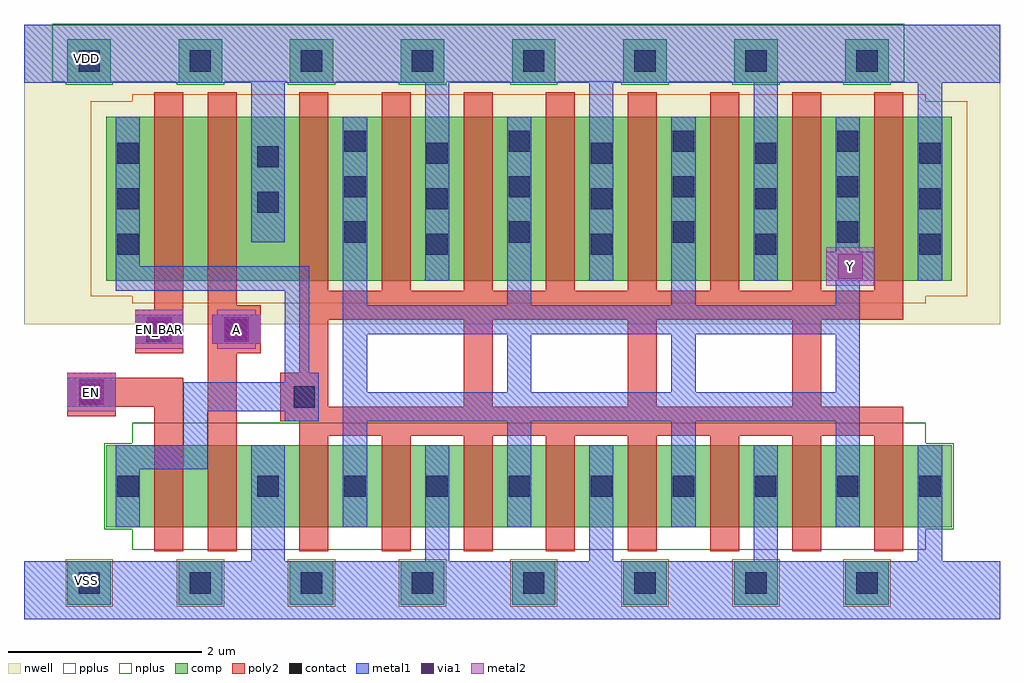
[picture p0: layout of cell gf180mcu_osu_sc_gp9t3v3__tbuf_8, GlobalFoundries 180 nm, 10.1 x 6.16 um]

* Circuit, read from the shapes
.subckt gf180mcu_osu_sc_gp9t3v3__tbuf_8 A EN EN_BAR VDD VSS Y
XM1 n1 EN n2 VSS nfet_03v3 w=0.85u l=0.3u
XM2 VSS A n1 VSS nfet_03v3 w=0.85u l=0.3u
XM3 Y n2 VSS VSS nfet_03v3 w=0.85u l=0.3u m=8
XM4 n3 EN_BAR n2 VDD pfet_03v3 w=1.7u l=0.3u
XM5 VDD A n3 VDD pfet_03v3 w=1.7u l=0.3u
XM6 Y n2 VDD VDD pfet_03v3 w=1.7u l=0.3u m=8
.ends

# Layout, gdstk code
import gdstk
lib = gdstk.Library(unit=1e-6, precision=1e-09)
def R(c, l, rs):  # rectangles x0, y0, x1, y1
    for r in rs: c.add(gdstk.rectangle(r[:2], r[2:], *l))
def A(c, l, x, y, w, h, nx, ny, dx, dy):  # array of equal rectangles
    R(c, l, [(x+i*dx, y+j*dy, x+i*dx+w, y+j*dy+h) for i in range(nx) for j in range(ny)])
nwell = (21, 0)
comp = (22, 0)
poly2 = (30, 0)
pplus = (31, 0)
nplus = (32, 0)
contact = (33, 0)
metal1 = (34, 0)
via1 = (35, 0)
metal2 = (36, 0)

gf180mcu_osu_sc_gp9t3v3_ = lib.new_cell('gf180mcu_osu_sc_gp9t3v3__tbuf_8')
R(gf180mcu_osu_sc_gp9t3v3_, nwell, [(0,3.05,10.1,6.15)])
A(gf180mcu_osu_sc_gp9t3v3_, comp, 0.45, 0.15, 0.45, 0.45, 8, 2, 1.15, 5.4)
R(gf180mcu_osu_sc_gp9t3v3_, comp, [(0.85,0.95,9.6,1.8), (0.85,3.5,9.6,5.2)])
A(gf180mcu_osu_sc_gp9t3v3_, poly2, 2.85, 0.7, 0.3, 1.2, 8, 1, 0.85, 0)
A(gf180mcu_osu_sc_gp9t3v3_, poly2, 4.55, 2.2, 0.3, 0.9, 3, 1, 1.7, 0)
A(gf180mcu_osu_sc_gp9t3v3_, poly2, 2.85, 3.4, 0.3, 2.05, 8, 1, 0.85, 0)
R(gf180mcu_osu_sc_gp9t3v3_, poly2, [(1.35,0.7,1.65,2.2), (1.9,0.7,2.2,2.75), (2.85,1.9,9.1,2.05), (2.65,2.05,9.1,2.2), (0.45,2.1,0.95,2.2), (0.45,2.2,1.65,2.5), (2.65,2.2,3.15,2.55), (0.45,2.5,0.95,2.55), (2.85,2.55,3.15,3.1), (1.15,2.75,1.65,3.2), (1.9,2.75,2.45,3.25), (2.85,3.1,9.1,3.4), (1.35,3.2,1.65,5.45), (1.9,3.25,2.2,5.45)])
A(gf180mcu_osu_sc_gp9t3v3_, pplus, 0.43, 0.13, 0.49, 0.49, 8, 1, 1.15, 0)
R(gf180mcu_osu_sc_gp9t3v3_, pplus, [(1.12,3.27,9.33,3.34), (0.69,3.34,9.76,5.36), (1.12,5.36,9.33,5.43)])
A(gf180mcu_osu_sc_gp9t3v3_, nplus, 0.43, 5.53, 0.49, 0.03, 8, 1, 1.15, 0)
R(gf180mcu_osu_sc_gp9t3v3_, nplus, [(1.12,0.72,9.33,0.93), (0.83,0.93,9.62,1.82), (1.12,1.82,9.33,2.03), (0.29,5.56,9.11,6.16)])
A(gf180mcu_osu_sc_gp9t3v3_, contact, 0.565, 0.265, 0.22, 0.22, 8, 2, 1.15, 5.4)
A(gf180mcu_osu_sc_gp9t3v3_, contact, 3.315, 1.265, 0.22, 0.22, 8, 1, 0.85, 0)
A(gf180mcu_osu_sc_gp9t3v3_, contact, 0.965, 3.77, 0.22, 0.22, 1, 3, 0, 0.47)
A(gf180mcu_osu_sc_gp9t3v3_, contact, 4.165, 3.77, 0.22, 0.22, 4, 3, 1.7, 0.47)
A(gf180mcu_osu_sc_gp9t3v3_, contact, 3.315, 3.895, 0.22, 0.22, 4, 3, 1.7, 0.47)
R(gf180mcu_osu_sc_gp9t3v3_, contact, [(0.965,1.265,1.185,1.485), (2.415,1.265,2.635,1.485), (2.79,2.19,3.01,2.41), (0.565,2.215,0.785,2.435), (1.265,2.865,1.485,3.085), (2.09,2.89,2.31,3.11), (2.415,4.205,2.635,4.425), (2.415,4.675,2.635,4.895)])
A(gf180mcu_osu_sc_gp9t3v3_, metal1, 4.15, 0.6, 0.25, 1.2, 4, 1, 1.7, 0)
A(gf180mcu_osu_sc_gp9t3v3_, metal1, 3.3, 0.95, 0.25, 1.1, 4, 1, 1.7, 0)
A(gf180mcu_osu_sc_gp9t3v3_, metal1, 3.3, 2.35, 0.25, 0.6, 4, 1, 1.7, 0)
A(gf180mcu_osu_sc_gp9t3v3_, metal1, 3.3, 3.25, 0.25, 1.95, 3, 1, 1.7, 0)
A(gf180mcu_osu_sc_gp9t3v3_, metal1, 4.15, 3.5, 0.25, 2.05, 4, 1, 1.7, 0)
R(gf180mcu_osu_sc_gp9t3v3_, metal1, [(0,0,10.1,0.6), (2.35,0.6,2.7,1.8), (0.95,0.95,1.2,1.55), (0.95,1.55,1.9,1.8), (1.65,1.8,1.9,2.15), (2.7,2.05,3.05,2.15), (3.3,2.05,8.65,2.35), (1.65,2.15,3.05,2.45), (0.45,2.2,0.95,2.5), (2.7,2.45,3.05,2.55), (2.7,2.55,2.95,3.4), (1.15,2.85,1.65,3.15), (1.95,2.85,2.45,3.15), (3.3,2.95,8.65,3.25), (8.4,3.25,8.65,3.5), (0.95,3.4,2.95,3.65), (8.3,3.5,8.8,3.8), (0.95,3.65,1.2,5.2), (8.4,3.8,8.65,5.2), (2.35,3.9,2.7,5.55), (0,5.55,10.1,6.15)])
R(gf180mcu_osu_sc_gp9t3v3_, via1, [(0.57,2.22,0.83,2.48), (1.27,2.87,1.53,3.13), (2.07,2.87,2.33,3.13), (8.42,3.52,8.68,3.78)])
R(gf180mcu_osu_sc_gp9t3v3_, metal2, [(0.45,2.15,0.95,2.55), (1.15,2.8,1.65,3.2), (2,2.8,2.4,2.85), (1.95,2.85,2.45,3.15), (2,3.15,2.4,3.2), (8.3,3.45,8.8,3.85)])
gf180mcu_osu_sc_gp9t3v3_.add(gdstk.Label('VDD', (0.65,5.8), layer=34, texttype=0))
gf180mcu_osu_sc_gp9t3v3_.add(gdstk.Label('VSS', (0.65,0.4), layer=34, texttype=0))
gf180mcu_osu_sc_gp9t3v3_.add(gdstk.Label('A', (2.2,3), layer=36, texttype=10))
gf180mcu_osu_sc_gp9t3v3_.add(gdstk.Label('Y', (8.55,3.65), layer=36, texttype=10))
gf180mcu_osu_sc_gp9t3v3_.add(gdstk.Label('EN', (0.7,2.35), layer=36, texttype=10))
gf180mcu_osu_sc_gp9t3v3_.add(gdstk.Label('EN_BAR', (1.4,3), layer=36, texttype=10))

lib.write_gds('gf180mcu_osu_sc_gp9t3v3__tbuf_8.gds')
